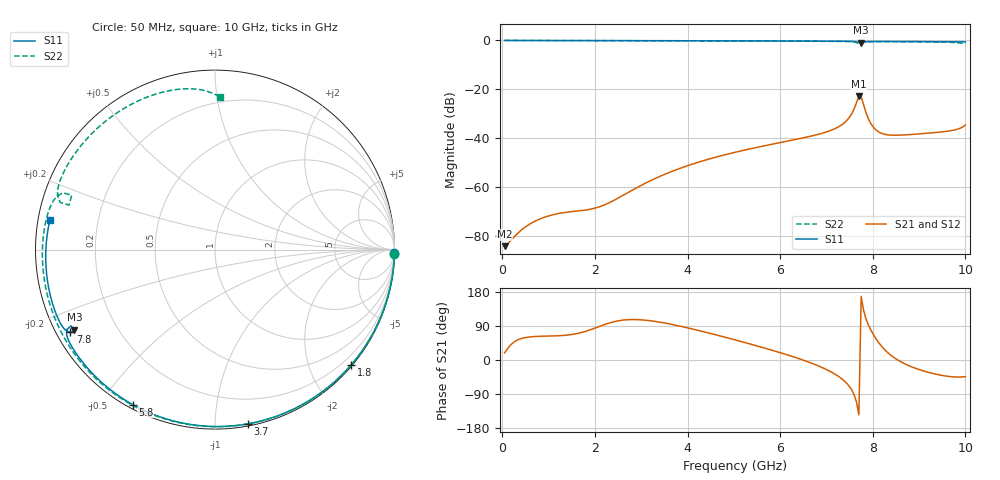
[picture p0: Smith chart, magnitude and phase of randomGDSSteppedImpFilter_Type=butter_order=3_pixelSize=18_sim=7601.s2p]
! freq	dB(S11)	phase(S11)	dB(S12)	phase(S12)
!  dB(S21)	phase(S21)	dB(S22)	phase(S22)
!S-par simulation data
#  GHz  S  DB  R 50
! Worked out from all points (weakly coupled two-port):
!   200 points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, 50 MHz to 10 GHz, reference 50 ohm
!   highest |S21| = -22.75 dB at 7.7 GHz (marker M1); lowest = -84.0 dB at 50 MHz (marker M2)
!   lowest |S11| = -0.9 dB at 7.75 GHz (marker M3), VSWR 19.31, Z = 2.77 - j13.2 ohm
!   |S11| at or under -10 dB: nowhere
!   |S22| runs from -1.4 to 0.0 dB; largest |S21 - S12| = 0
!   S11 on the Smith chart (normalised r, x): 50 MHz: open; 1.8 GHz: 0.02, -2.74; 3.7 GHz: 0.01, -1.21; 5.8 GHz: 0.02, -0.60; 7.8 GHz: 0.04, -0.27; 10 GHz: 0.03, +0.09
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0.05  -0.00 -1.1  -83.98 19.1  -83.98 19.1  -0.00 -1.5
0.25  -0.00 -5.7  -80.31 47.1  -80.31 47.1  -0.00 -7.4
0.6  -0.01 -13.6  -74.87 61.0  -74.87 61.0  -0.02 -17.7
0.95  -0.03 -21.5  -71.91 63.0  -71.91 63.0  -0.03 -27.9
1.75  -0.05 -39.0  -69.35 73.9  -69.35 73.9  -0.06 -50.6
1.8  -0.05 -40.1  -69.22 75.7  -69.22 75.7  -0.07 -52.0
2.25  -0.06 -49.7  -66.77 95.3  -66.77 95.3  -0.08 -64.3
3.4  -0.10 -73.3  -55.51 99.9  -55.51 99.9  -0.12 -94.3
3.7  -0.11 -79.2  -53.18 93.0  -53.18 93.0  -0.13 -101.8
5.05  -0.16 -104.6  -45.55 52.3  -45.55 52.3  -0.20 -134.4
5.8  -0.20 -118.0  -42.46 26.7  -42.46 26.7  -0.24 -152.1
6.7  -0.25 -133.7  -38.90 -9.5  -38.90 -9.5  -0.32 -173.7
7.4  -0.32 -146.1  -33.37 -57.0  -33.37 -57.0  -0.42 168.1
7.55  -0.38 -149.2  -29.77 -79.8  -29.77 -79.8  -0.52 163.4
7.7  -0.84 -152.1  -22.75 -144.7  -22.75 -144.7  -1.37 159.2
7.75  -0.90 -150.3  -22.91 167.9  -22.91 167.9  -1.41 163.1
7.8  -0.64 -150.2  -26.06 131.9  -26.06 131.9  -0.90 163.0
7.9  -0.45 -152.5  -31.74 94.1  -31.74 94.1  -0.55 159.1
8  -0.41 -154.6  -35.11 69.9  -35.11 69.9  -0.49 155.7
8.35  -0.41 -161.0  -38.59 16.6  -38.59 16.6  -0.48 145.2
9.4  -0.51 -179.4  -37.51 -38.4  -37.51 -38.4  -0.64 113.0
10  -0.59 169.8  -34.50 -44.2  -34.50 -44.2  -1.42 88.0
